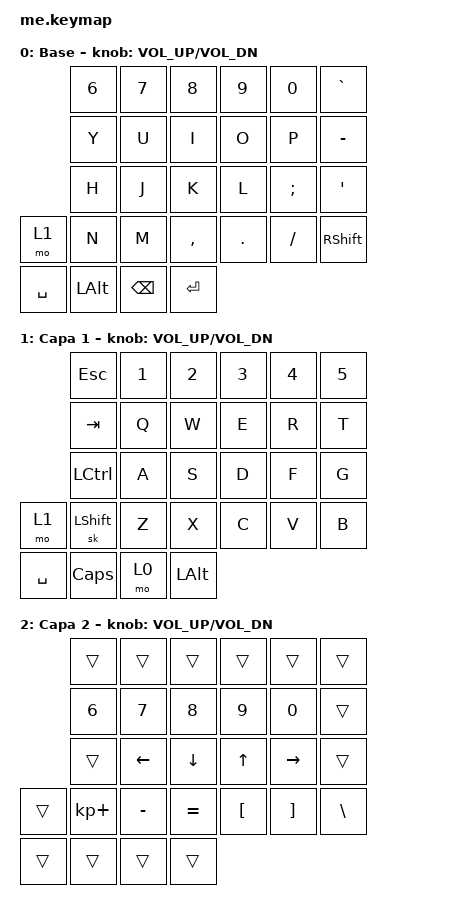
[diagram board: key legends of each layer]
#include <behaviors.dtsi>
#include <dt-bindings/zmk/keys.h>
#include <dt-bindings/zmk/bt.h>
#include <dt-bindings/zmk/ext_power.h>
//Sensor para los EC11
&sensors {
//       left_config {
//          triggers-per-rotation = <18>;
//            };
        right_config {
            triggers-per-rotation = <18>;
    };
};
/ {
    keymap {
        compatible = "zmk,keymap";        
        default_layer {
            display-name = "Base";
            bindings = <
                        &kp N6   &kp N7   &kp N8   &kp N9   &kp N0   &kp GRAVE
                        &kp Y    &kp U    &kp I    &kp O    &kp P    &kp MINUS
                        &kp H    &kp J    &kp K    &kp L    &kp SEMI &kp SQT
                &mo 1   &kp N    &kp M    &kp COMMA &kp DOT  &kp FSLH &kp RSHFT
                &kp SPACE &kp LALT &kp BSPC &kp RET
            >;
       sensor-bindings = <&inc_dec_kp C_VOL_UP C_VOL_DN>;
        };
        lower_layer {
            display-name = "Capa 1";
            bindings = <
                        &kp ESC   &kp N1    &kp N2    &kp N3    &kp N4    &kp N5
                        &kp TAB   &kp Q     &kp W     &kp E     &kp R     &kp T
                        &kp LCTRL &kp A     &kp S     &kp D     &kp F     &kp G
                &mo 1   &sk LSHFT &kp Z     &kp X     &kp C     &kp V     &kp B
                &kp SPACE &kp CAPS &mo 0 &kp LALT
            >;
            sensor-bindings = <&inc_dec_kp C_VOL_UP C_VOL_DN>;
        };

        raise_layer {
            display-name = "Capa 2";
            bindings = <
                        &trans    &trans    &trans    &trans    &trans    &trans
                        &kp N6    &kp N7    &kp N8    &kp N9    &kp N0    &trans
                        &trans    &kp LEFT  &kp DOWN  &kp UP    &kp RIGHT &trans
                &trans  &kp KP_PLUS &kp MINUS &kp EQUAL &kp LBKT &kp RBKT &kp BSLH
                &trans    &trans    &trans    &trans
            >;
            sensor-bindings = <&inc_dec_kp C_VOL_UP C_VOL_DN>;
        };
    };
};
// ------------------------------------------------------------------------------------------------------------
// |  ESC  |  1  |  2  |  3   |  4   |  5   |                   |  6   |  7    |  8    |  9   |   0   |   `   |
// |  TAB  |  Q  |  W  |  E   |  R   |  T   |                   |  Y   |  U    |  I    |  O   |   P   |   -   |
// |  CTRL |  A  |  S  |  D   |  F   |  G   |                   |  H   |  J    |  K    |  L   |   ;   |   '   |
// | SHIFT |  Z  |  X  |  C   |  V   |  B   |  PAUSE |  | LOWER |  N   |  M    |  ,    |  .   |   /   | SHIFT |
//                     | ALT  | GUI  | CAPS |  SPACE |  | SPACE | LOWER| BSPC  | ENTER   |//
//            bindings = <
//&kp ESC   &kp N1 &kp N2 &kp N3   &kp N4   &kp N5                     &kp N6 &kp N7   &kp N8    &kp N9  &kp N0   &kp GRAVE
//&kp TAB   &kp Q  &kp W  &kp E    &kp R    &kp T                      &kp Y  &kp U    &kp I     &kp O   &kp P    &kp MINUS
//&kp LCTRL &kp A  &kp S  &kp D    &kp F    &kp G                      &kp H  &kp J    &kp K     &kp L   &kp SEMI &kp SQT
//&kp LSHFT &kp Z  &kp X  &kp C    &kp V    &kp B    &kp C_PP   &mo 1  &kp N  &kp M    &kp COMMA &kp DOT &kp FSLH &kp RSHFT
//                        &kp LALT &kp LGUI &kp CAPS &kp SPACE  &kp SPACE  &mo 1  &kp BSPC &kp RET
//           >;
//sensor-bindings = <&inc_dec_kp C_VOL_UP C_VOL_DN &inc_dec_kp C_NEXT C_PREV>;
// ------------------------------------------------------------------------------------------------------------
// |  F1   |  F2 |  F3 |  F4  |  F5  |  F6  |                   |  ESC |  1    |  2    |  3   |  4    |  5    |
// |  F7   |  F8 |  F9 |  F10 |  F11 |  F12 |                   |  TAB |  Q    |  W    |  E   |  R    |  T    |
// |   `   |  !  |  @  |  #   |  $   |  %   |                   | CTRL |  A    |  S    |  D   |  F    |  G    |
// |  ^    |  &  |  *  |  (   |  )   |  ~   |        |  |  DEFA | SHIFT|  Z    |  X    |  C   |  V    |  B    |
//                     |      |      |      |        |  | SPACE | CAPS |  DEFA |  ALT  |
//        bindings = <
//&kp F1     &kp F2      &kp F3       &kp F4         &kp F5       &kp F6                          &kp ESC   &kp N1    &kp N2    &kp N3    &kp N4    &kp N5
//&kp F7     &kp F8      &kp F9       &kp F10        &kp F11      &kp F12                         &kp TAB   &kp Q     &kp W     &kp E     &kp R     &kp T
//&kp GRAVE  &kp EXCL    &kp AT       &kp HASH       &kp DOLLAR   &kp PRCNT                       &kp LCTRL &kp A     &kp S     &kp D     &kp F     &kp G
//&kp CARET  &kp AMPS    &kp ASTRK    &kp LPAR       &kp RPAR     &kp TILDE   &trans   &mo 0      &sk LSHFT &kp Z     &kp X     &kp C     &kp V     &kp B
//                                    &trans         &trans       &trans      &trans   &kp SPACE  &kp CAPS  &mo 0     &kp LALT
//            >;
//           sensor-bindings = <&inc_dec_kp C_VOL_UP C_VOL_DN>;
// ------------------------------------------------------------------------------------------------------------
// |       |     |     |      |      |      |                   |      |       |       |      |       |       |
// |   `   |  1  |  2  |  3   |  4   |  5   |                   |  6   |   7   |   8   |  9   |   0   |       |
// |   F1  |  F2 |  F3 |  F4  |  F5  |  F6  |                   |      |   <-  |   v   |  ^   |  ->   |       |
// |   F7  |  F8 |  F9 |  F10 |  F11 |  F12 |        |  |       |  +   |   -   |   =   |  [   |   ]   |   \   |
//                     |      |      |      |        |  |       |      |       |       |
//            bindings = <
//&trans    &trans &trans &trans  &trans  &trans                       &trans      &trans    &trans    &trans   &trans    &trans
//&kp GRAVE &kp N1 &kp N2 &kp N3  &kp N4  &kp N5                       &kp N6      &kp N7    &kp N8    &kp N9   &kp N0    &trans
//&kp F1    &kp F2 &kp F3 &kp F4  &kp F5  &kp F6                       &trans      &kp LEFT  &kp DOWN  &kp UP   &kp RIGHT &trans
//&kp F7    &kp F8 &kp F9 &kp F10 &kp F11 &kp F12   &trans   &trans    &kp KP_PLUS &kp MINUS &kp EQUAL &kp LBKT &kp RBKT  &kp BSLH
//                       &trans  &trans  &trans    &trans   &trans    &trans      &trans    &trans
//            >;
//           sensor-bindings = <&inc_dec_kp C_VOL_UP C_VOL_DN>;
